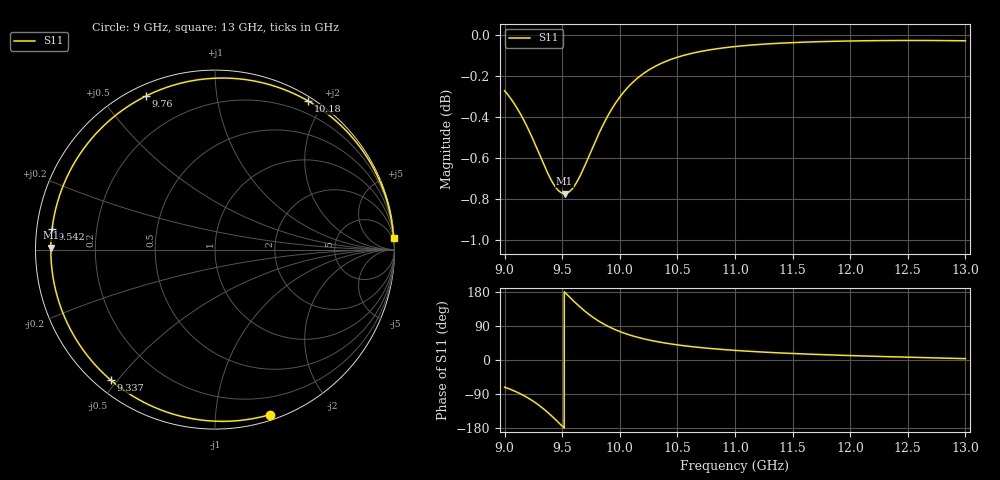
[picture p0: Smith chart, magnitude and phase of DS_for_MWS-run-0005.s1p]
! TOUCHSTONE file generated by CST DESIGN STUDIO
! Date and time: Wed Feb  5 13:42:20 2025
! Project name: C:\Work\MatlabApps\UnitCellOptimizationMatlab\CST\unitcell.cst
! Tree item: Tasks\Sweep1\SPara1\S-Parameters
! Header version: 2024
! Port assignment regex: !\s*Touchstone port\s*([0-9]+)\s*=\s*(CST MWS port|CST DES external port|CST DES block port)\s*(.+)\s* \(\"(.*)\"\)(\s*mode\s*([0-9]+))?.*
! Touchstone port assignment:
! Touchstone port 1 = CST DES external port 1 ("")
# GHz S MA R 50
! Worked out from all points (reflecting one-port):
!   4001 points, 9 GHz to 13 GHz, reference 50 ohm
!   lowest |S11| = -0.8 dB at 9.52 GHz (marker M1), VSWR 22.48, Z = 2.22 + j0.288 ohm
!   phase of S11 starts at -72 deg and turns -285 deg over the sweep
!   S11 on the Smith chart (normalised r, x): 9 GHz: 0.05, -1.38; 9.337 GHz: 0.04, -0.48; 9.542 GHz: 0.04, +0.06; 9.76 GHz: 0.05, +0.65; 10.18 GHz: 0.05, +1.80; 13 GHz: 2, +32
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9  0.9691 -71.7
9.092  0.9612 -82.7
9.197  0.9495 -99.0
9.27  0.9397 -113.2
9.337  0.9303 -128.7
9.381  0.9245 -140.0
9.427  0.9195 -152.9
9.464  0.9166 -163.7
9.5  0.9151 -174.6
9.52  0.9148 179.3
9.542  0.9151 172.6
9.596  0.9179 156.5
9.656  0.924 139.6
9.707  0.9307 126.4
9.76  0.9381 114.2
9.81  0.9449 104.0
9.865  0.9519 94.1
10  0.9656 75.1
10.086  0.9719 66.0
10.179  0.9772 58.0
10.325  0.9829 48.4
10.5  0.9874 39.9
10.722  0.9908 32.2
11  0.9933 25.3
11.5  0.9955 17.2
12  0.9964 11.7
12.5  0.9967 7.4
13  0.9965 3.6
